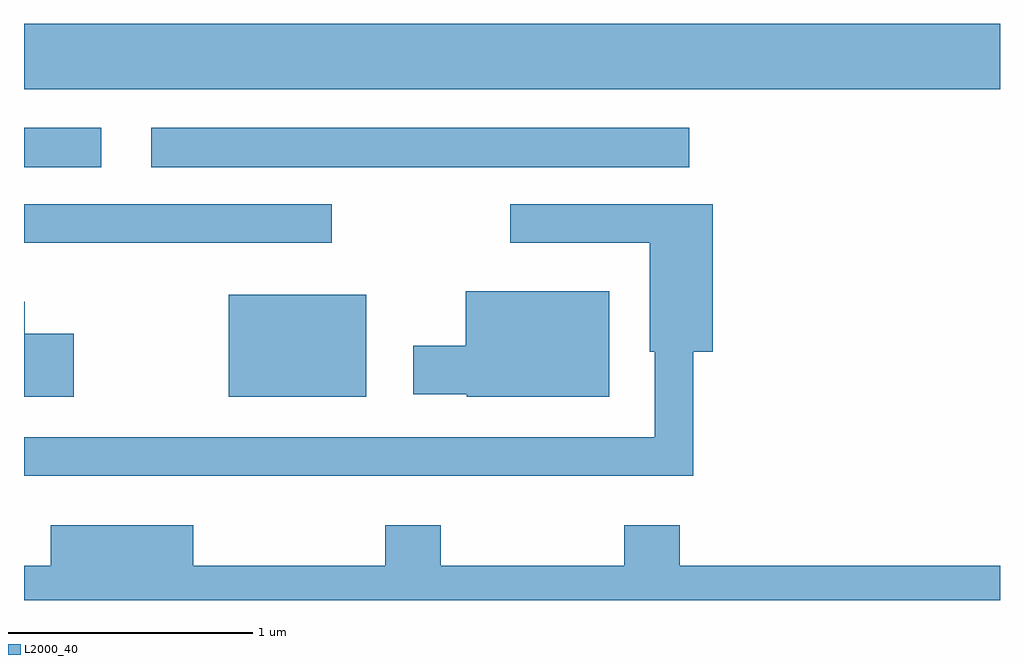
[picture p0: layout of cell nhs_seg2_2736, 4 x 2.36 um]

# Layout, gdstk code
import gdstk
lib = gdstk.Library(unit=1e-6, precision=1e-09)
def R(c, l, rs):  # rectangles x0, y0, x1, y1
    for r in rs: c.add(gdstk.rectangle(r[:2], r[2:], *l))
def P(c, l, *ps):  # polygons
    for p in ps: c.add(gdstk.Polygon(p, *l))
L2000_40 = (2000, 40)

nhs_seg2_2736 = lib.new_cell('nhs_seg2_2736')
R(nhs_seg2_2736, L2000_40, [(266.451,1022.636,267.014,1023.054), (265.611,1023.266,266.873,1023.424), (265.611,1023.576,265.928,1023.739), (266.133,1023.576,268.338,1023.739), (265.611,1023.896,269.611,1024.164)])
P(nhs_seg2_2736, L2000_40, [(268.354,1022.821),(268.434,1022.821),(268.434,1023.424),(267.603,1023.424),(267.603,1023.266),(268.176,1023.266),(268.176,1022.821),(268.196,1022.821),(268.196,1022.469),(265.611,1022.469),(265.611,1022.311),(268.354,1022.311)],
  [(268.009,1023.069),(267.421,1023.069),(267.421,1022.844),(267.206,1022.844),(267.206,1022.646),(267.425,1022.646),(267.425,1022.636),(268.009,1022.636)],
  [(265.814,1022.894),(265.614,1022.894),(265.614,1023.024),(265.611,1023.024),(265.611,1022.636),(265.814,1022.636)],
  [(269.611,1021.944),(268.299,1021.944),(268.299,1022.109),(268.071,1022.109),(268.071,1021.944),(267.319,1021.944),(267.319,1022.109),(267.091,1022.109),(267.091,1021.944),(266.304,1021.944),(266.304,1022.109),(265.721,1022.109),(265.721,1021.944),(265.611,1021.944),(265.611,1021.802),(269.611,1021.802)])

lib.write_gds('nhs_seg2_2736.gds')
